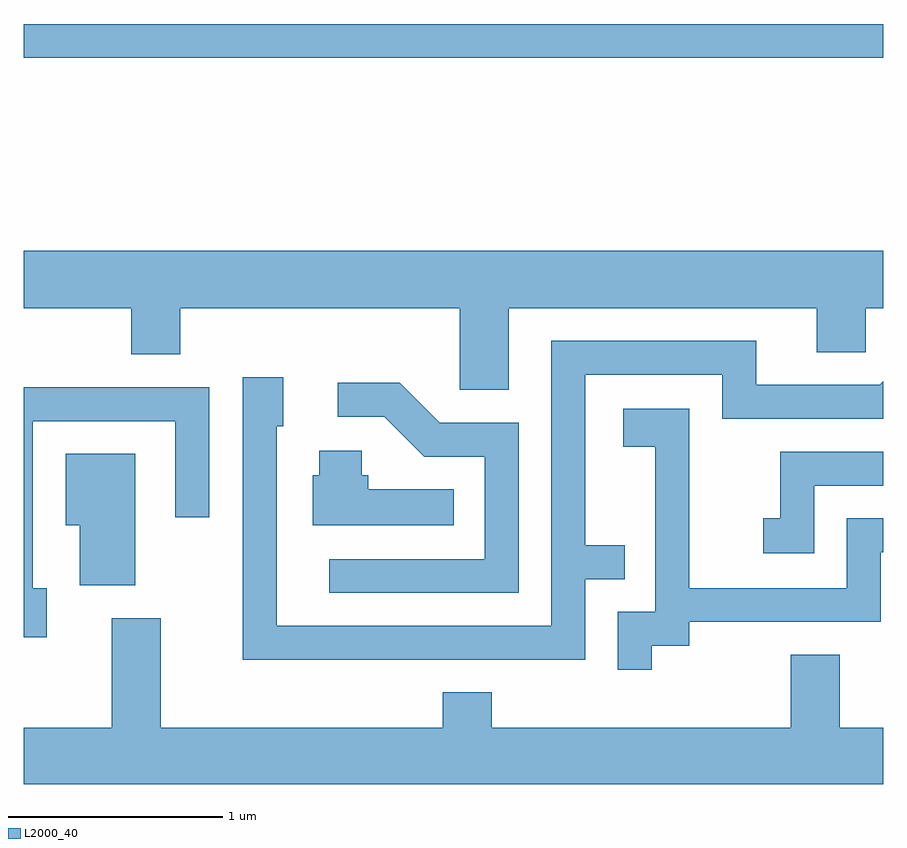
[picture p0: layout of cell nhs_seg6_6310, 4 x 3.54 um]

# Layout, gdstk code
import gdstk
lib = gdstk.Library(unit=1e-6, precision=1e-09)
def R(c, l, rs):  # rectangles x0, y0, x1, y1
    for r in rs: c.add(gdstk.rectangle(r[:2], r[2:], *l))
def P(c, l, *ps):  # polygons
    for p in ps: c.add(gdstk.Polygon(p, *l))
L2000_40 = (2000, 40)

nhs_seg6_6310 = lib.new_cell('nhs_seg6_6310')
R(nhs_seg6_6310, L2000_40, [(375.611,1655.541,379.611,1655.699)])
P(nhs_seg6_6310, L2000_40, [(377.869,1654.376),(379.301,1654.376),(379.301,1654.171),(379.529,1654.171),(379.529,1654.376),(379.611,1654.376),(379.611,1654.644),(375.611,1654.644),(375.611,1654.376),(376.111,1654.376),(376.111,1654.161),(376.339,1654.161),(376.339,1654.376),(377.641,1654.376),(377.641,1653.996),(377.869,1653.996)],
  [(378.224,1653.116),(378.408,1653.116),(378.408,1653.274),(378.224,1653.274),(378.224,1654.066),(378.861,1654.066),(378.861,1653.861),(379.611,1653.861),(379.611,1654.036),(379.594,1654.019),(379.019,1654.019),(379.019,1654.224),(378.066,1654.224),(378.066,1652.899),(376.789,1652.899),(376.789,1653.826),(376.819,1653.826),(376.819,1654.054),(376.631,1654.054),(376.631,1652.741),(378.224,1652.741)],
  [(377.914,1653.844),(377.547,1653.844),(377.362,1654.029),(377.073,1654.029),(377.073,1653.871),(377.289,1653.871),(377.474,1653.686),(377.756,1653.686),(377.756,1653.209),(377.033,1653.209),(377.033,1653.051),(377.914,1653.051)],
  [(375.719,1653.074),(375.654,1653.074),(375.654,1653.851),(376.316,1653.851),(376.316,1653.403),(376.474,1653.403),(376.474,1654.009),(375.611,1654.009),(375.611,1652.846),(375.719,1652.846)],
  [(378.534,1652.806),(378.709,1652.806),(378.709,1652.916),(379.599,1652.916),(379.599,1653.241),(379.611,1653.241),(379.611,1653.399),(379.441,1653.399),(379.441,1653.074),(378.709,1653.074),(378.709,1653.909),(378.401,1653.909),(378.401,1653.731),(378.551,1653.731),(378.551,1652.964),(378.376,1652.964),(378.376,1652.693),(378.534,1652.693)],
  [(377.613,1653.534),(377.214,1653.534),(377.214,1653.599),(377.184,1653.599),(377.184,1653.714),(376.986,1653.714),(376.986,1653.599),(376.956,1653.599),(376.956,1653.366),(377.613,1653.366)],
  [(379.289,1653.551),(379.611,1653.551),(379.611,1653.709),(379.131,1653.709),(379.131,1653.399),(379.053,1653.399),(379.053,1653.236),(379.289,1653.236)],
  [(376.129,1653.699),(375.806,1653.699),(375.806,1653.366),(375.871,1653.366),(375.871,1653.086),(376.129,1653.086)],
  [(379.611,1652.424),(379.409,1652.424),(379.409,1652.764),(379.181,1652.764),(379.181,1652.424),(377.789,1652.424),(377.789,1652.589),(377.561,1652.589),(377.561,1652.424),(376.249,1652.424),(376.249,1652.934),(376.021,1652.934),(376.021,1652.424),(375.611,1652.424),(375.611,1652.162),(379.611,1652.162)])

lib.write_gds('nhs_seg6_6310.gds')
